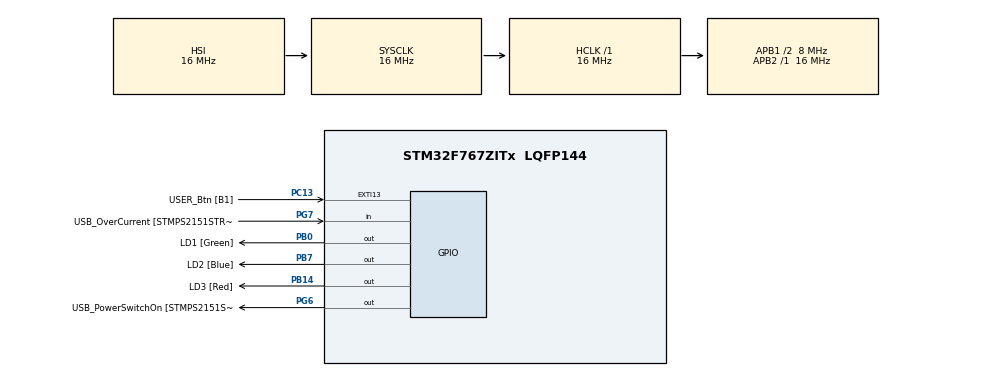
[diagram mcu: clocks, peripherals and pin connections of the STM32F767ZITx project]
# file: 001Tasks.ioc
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Mcu.Family=STM32F7
Mcu.Name=STM32F767ZITx
Mcu.Package=LQFP144
NVIC.PriorityGroup=NVIC_PRIORITYGROUP_4
NVIC.TIM6_DAC_IRQn=true\:15\:0\:false\:false\:true\:false\:true\:true
NVIC.TimeBase=TIM6_DAC_IRQn
NVIC.TimeBaseIP=TIM6
PA1.GPIO_Label=RMII_REF_CLK [LAN8742A-CZ-TR_REFCLK0]
PA1.Signal=ETH_REF_CLK
PA10.GPIO_Label=USB_ID
PA10.Signal=USB_OTG_FS_ID
PA11.GPIO_Label=USB_DM
PA11.Signal=USB_OTG_FS_DM
PA12.GPIO_Label=USB_DP
PA12.Signal=USB_OTG_FS_DP
PA13.GPIO_Label=TMS
PA13.Signal=SYS_JTMS-SWDIO
PA14.GPIO_Label=TCK
PA14.Signal=SYS_JTCK-SWCLK
PA2.GPIO_Label=RMII_MDIO [LAN8742A-CZ-TR_MDIO]
PA2.Signal=ETH_MDIO
PA7.GPIO_Label=RMII_CRS_DV [LAN8742A-CZ-TR_CRS_DV]
PA7.Signal=ETH_CRS_DV
PA8.GPIO_Label=USB_SOF [TP1]
PA8.Signal=USB_OTG_FS_SOF
PA9.GPIO_Label=USB_VBUS
PA9.Signal=USB_OTG_FS_VBUS
PB0.GPIO_Label=LD1 [Green]
PB0.Signal=GPIO_Output
PB13.GPIO_Label=RMII_TXD1 [LAN8742A-CZ-TR_TXD1]
PB13.Signal=ETH_TXD1
PB14.GPIO_Label=LD3 [Red]
PB14.Signal=GPIO_Output
PB3.GPIO_Label=SW0
PB3.Signal=SYS_JTDO-SWO
PB7.GPIO_Label=LD2 [Blue]
PB7.Signal=GPIO_Output
PC1.GPIO_Label=RMII_MDC [LAN8742A-CZ-TR_MDC]
PC1.Signal=ETH_MDC
PC13.GPIO_Label=USER_Btn [B1]
PC13.Signal=GPXTI13
PC14/OSC32_IN.Signal=RCC_OSC32_IN
PC15/OSC32_OUT.Signal=RCC_OSC32_OUT
PC4.GPIO_Label=RMII_RXD0 [LAN8742A-CZ-TR_RXD0]
PC4.Signal=ETH_RXD0
PC5.GPIO_Label=RMII_RXD1 [LAN8742A-CZ-TR_RXD1]
PC5.Signal=ETH_RXD1
PD8.GPIO_Label=STLK_RX [STM32F103CBT6_PA3]
PD8.Signal=USART3_TX
PD9.GPIO_Label=STLK_TX [STM32F103CBT6_PA2]
PD9.Signal=USART3_RX
PG11.GPIO_Label=RMII_TX_EN [LAN8742A-CZ-TR_TXEN]
PG11.Signal=ETH_TX_EN
PG13.GPIO_Label=RMII_TXD0 [LAN8742A-CZ-TR_TXD0]
PG13.Signal=ETH_TXD0
PG6.GPIO_Label=USB_PowerSwitchOn [STMPS2151STR_EN]
PG6.Signal=GPIO_Output
PG7.GPIO_Label=USB_OverCurrent [STMPS2151STR_FAULT]
PG7.Signal=GPIO_Input
PH0/OSC_IN.GPIO_Label=MCO [STM32F103CBT6_PA8]
PH0/OSC_IN.Signal=RCC_OSC_IN
PH1/OSC_OUT.Signal=RCC_OSC_OUT
ProjectManager.HeapSize=0x200
ProjectManager.StackSize=0x400
ProjectManager.TargetToolchain=STM32CubeIDE
RCC.48MHZClocksFreq_Value=24000000
RCC.AHBFreq_Value=16000000
RCC.APB1CLKDivider=RCC_HCLK_DIV2
RCC.APB1Freq_Value=8000000
RCC.APB1TimFreq_Value=16000000
RCC.APB2Freq_Value=16000000
RCC.APB2TimFreq_Value=16000000
RCC.CortexFreq_Value=16000000
RCC.HCLKFreq_Value=16000000
RCC.HSE_VALUE=16000000
RCC.HSI_VALUE=16000000
RCC.LSE_VALUE=32768
RCC.PLLMUL=RCC_PLL_MUL9
RCC.PRESCALERUSB=RCC_USBCLKSOURCE_PLL_DIV1_5
RCC.SYSCLKFreq_VALUE=16000000
RCC.SYSCLKSourceVirtual=RCC_SYSCLKSOURCE_PLLCLK
RCC.USBFreq_Value=96000000
RCC.VCOOutputFreq_Value=192000000
VP_SYS_VS_tim6.Mode=TIM6
board=NUCLEO-F767ZI

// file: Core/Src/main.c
/* USER CODE BEGIN Header */
/**
 ******************************************************************************
 * @file           : main.c
 * @brief          : Main program body
 ******************************************************************************
 * @attention
 *
 * Copyright (c) 2024 STMicroelectronics.
 * All rights reserved.
 *
 * This software is licensed under terms that can be found in the LICENSE file
 * in the root directory of this software component.
 * If no LICENSE file comes with this software, it is provided AS-IS.
 *
 ******************************************************************************
 */
/* USER CODE END Header */
#include "main.h"

#include <stdio.h>
#include "FreeRTOS.h"
#include "task.h"

/* USER CODE BEGIN PV */

#define DWT_CTRL	(*(volatile uint32_t*)0xE0001000)	// check at cm7

/* USER CODE END PV */

void SystemClock_Config(void);
static void MX_GPIO_Init(void);
/* USER CODE BEGIN PFP */

static void task1_handler(void* parameters);
static void task2_handler(void* parameters);

/* USER CODE END PFP */

int main(void)
{
	/* USER CODE BEGIN 1 */
	TaskHandle_t task1_handle;
	TaskHandle_t task2_handle;

	BaseType_t status;
	/* USER CODE END 1 */

	/* MCU Configuration--------------------------------------------------------*/

	/* Reset of all peripherals, Initializes the Flash interface and the Systick. */
	HAL_Init();

	/* Configure the system clock */
	SystemClock_Config();

	/* Initialize all configured peripherals */
	MX_GPIO_Init();

	// Enable CYCCNT
	DWT_CTRL |= (1 << 0);

	SEGGER_SYSVIEW_Conf();

	SEGGER_SYSVIEW_Start();

	status = xTaskCreate(task1_handler, "Task-1", 200, "Hello world from Task-1", 2, &task1_handle);
	configASSERT(status == pdPASS);
	status = xTaskCreate(task2_handler, "Task-2", 200, "Hello world from Task-2", 2, &task2_handle);
	configASSERT(status == pdPASS);

	// start the FreeRTOS Scheduler

	vTaskStartScheduler();

	/* Infinite loop */
	while (1)
	{

	}
}

void SystemClock_Config(void)
{
	RCC_OscInitTypeDef RCC_OscInitStruct = {0};
	RCC_ClkInitTypeDef RCC_ClkInitStruct = {0};

	/** Configure the main internal regulator output voltage
	 */
	__HAL_RCC_PWR_CLK_ENABLE();
	__HAL_PWR_VOLTAGESCALING_CONFIG(PWR_REGULATOR_VOLTAGE_SCALE3);

	/** Initializes the RCC Oscillators according to the specified parameters
	 * in the RCC_OscInitTypeDef structure.
	 */
	RCC_OscInitStruct.OscillatorType = RCC_OSCILLATORTYPE_HSI;
	RCC_OscInitStruct.HSIState = RCC_HSI_ON;
	RCC_OscInitStruct.HSICalibrationValue = RCC_HSICALIBRATION_DEFAULT;
	RCC_OscInitStruct.PLL.PLLState = RCC_PLL_NONE;
	if (HAL_RCC_OscConfig(&RCC_OscInitStruct) != HAL_OK)
	{
		Error_Handler();
	}

	/** Initializes the CPU, AHB and APB buses clocks
	 */
	RCC_ClkInitStruct.ClockType = RCC_CLOCKTYPE_HCLK|RCC_CLOCKTYPE_SYSCLK
			|RCC_CLOCKTYPE_PCLK1|RCC_CLOCKTYPE_PCLK2;
	RCC_ClkInitStruct.SYSCLKSource = RCC_SYSCLKSOURCE_HSI;
	RCC_ClkInitStruct.AHBCLKDivider = RCC_SYSCLK_DIV1;
	RCC_ClkInitStruct.APB1CLKDivider = RCC_HCLK_DIV2;
	RCC_ClkInitStruct.APB2CLKDivider = RCC_HCLK_DIV1;

	if (HAL_RCC_ClockConfig(&RCC_ClkInitStruct, FLASH_LATENCY_0) != HAL_OK)
	{
		Error_Handler();
	}
}

static void MX_GPIO_Init(void)
{
	GPIO_InitTypeDef GPIO_InitStruct = {0};

	/* GPIO Ports Clock Enable */
	__HAL_RCC_GPIOC_CLK_ENABLE();
	__HAL_RCC_GPIOH_CLK_ENABLE();
	__HAL_RCC_GPIOA_CLK_ENABLE();
	__HAL_RCC_GPIOB_CLK_ENABLE();
	__HAL_RCC_GPIOD_CLK_ENABLE();
	__HAL_RCC_GPIOG_CLK_ENABLE();

	/*Configure GPIO pin Output Level */
	HAL_GPIO_WritePin(GPIOB, LD1_Pin|LD3_Pin|LD2_Pin, GPIO_PIN_RESET);

	/*Configure GPIO pin Output Level */
	HAL_GPIO_WritePin(USB_PowerSwitchOn_GPIO_Port, USB_PowerSwitchOn_Pin, GPIO_PIN_RESET);

	/*Configure GPIO pin : USER_Btn_Pin */
	GPIO_InitStruct.Pin = USER_Btn_Pin;
	GPIO_InitStruct.Mode = GPIO_MODE_IT_RISING;
	GPIO_InitStruct.Pull = GPIO_NOPULL;
	HAL_GPIO_Init(USER_Btn_GPIO_Port, &GPIO_InitStruct);

	/*Configure GPIO pins : RMII_MDC_Pin RMII_RXD0_Pin RMII_RXD1_Pin */
	GPIO_InitStruct.Pin = RMII_MDC_Pin|RMII_RXD0_Pin|RMII_RXD1_Pin;
	GPIO_InitStruct.Mode = GPIO_MODE_AF_PP;
	GPIO_InitStruct.Pull = GPIO_NOPULL;
	GPIO_InitStruct.Speed = GPIO_SPEED_FREQ_VERY_HIGH;
	GPIO_InitStruct.Alternate = GPIO_AF11_ETH;
	HAL_GPIO_Init(GPIOC, &GPIO_InitStruct);

	/*Configure GPIO pins : RMII_REF_CLK_Pin RMII_MDIO_Pin RMII_CRS_DV_Pin */
	GPIO_InitStruct.Pin = RMII_REF_CLK_Pin|RMII_MDIO_Pin|RMII_CRS_DV_Pin;
	GPIO_InitStruct.Mode = GPIO_MODE_AF_PP;
	GPIO_InitStruct.Pull = GPIO_NOPULL;
	GPIO_InitStruct.Speed = GPIO_SPEED_FREQ_VERY_HIGH;
	GPIO_InitStruct.Alternate = GPIO_AF11_ETH;
	HAL_GPIO_Init(GPIOA, &GPIO_InitStruct);

	/*Configure GPIO pins : LD1_Pin LD3_Pin LD2_Pin */
	GPIO_InitStruct.Pin = LD1_Pin|LD3_Pin|LD2_Pin;
	GPIO_InitStruct.Mode = GPIO_MODE_OUTPUT_PP;
	GPIO_InitStruct.Pull = GPIO_NOPULL;
	GPIO_InitStruct.Speed = GPIO_SPEED_FREQ_LOW;
	HAL_GPIO_Init(GPIOB, &GPIO_InitStruct);

	/*Configure GPIO pin : RMII_TXD1_Pin */
	GPIO_InitStruct.Pin = RMII_TXD1_Pin;
	GPIO_InitStruct.Mode = GPIO_MODE_AF_PP;
	GPIO_InitStruct.Pull = GPIO_NOPULL;
	GPIO_InitStruct.Speed = GPIO_SPEED_FREQ_VERY_HIGH;
	GPIO_InitStruct.Alternate = GPIO_AF11_ETH;
	HAL_GPIO_Init(RMII_TXD1_GPIO_Port, &GPIO_InitStruct);

	/*Configure GPIO pins : STLK_RX_Pin STLK_TX_Pin */
	GPIO_InitStruct.Pin = STLK_RX_Pin|STLK_TX_Pin;
	GPIO_InitStruct.Mode = GPIO_MODE_AF_PP;
	GPIO_InitStruct.Pull = GPIO_NOPULL;
	GPIO_InitStruct.Speed = GPIO_SPEED_FREQ_VERY_HIGH;
	GPIO_InitStruct.Alternate = GPIO_AF7_USART3;
	HAL_GPIO_Init(GPIOD, &GPIO_InitStruct);

	/*Configure GPIO pin : USB_PowerSwitchOn_Pin */
	GPIO_InitStruct.Pin = USB_PowerSwitchOn_Pin;
	GPIO_InitStruct.Mode = GPIO_MODE_OUTPUT_PP;
	GPIO_InitStruct.Pull = GPIO_NOPULL;
	GPIO_InitStruct.Speed = GPIO_SPEED_FREQ_LOW;
	HAL_GPIO_Init(USB_PowerSwitchOn_GPIO_Port, &GPIO_InitStruct);

	/*Configure GPIO pin : USB_OverCurrent_Pin */
	GPIO_InitStruct.Pin = USB_OverCurrent_Pin;
	GPIO_InitStruct.Mode = GPIO_MODE_INPUT;
	GPIO_InitStruct.Pull = GPIO_NOPULL;
	HAL_GPIO_Init(USB_OverCurrent_GPIO_Port, &GPIO_InitStruct);

	/*Configure GPIO pins : USB_SOF_Pin USB_ID_Pin USB_DM_Pin USB_DP_Pin */
	GPIO_InitStruct.Pin = USB_SOF_Pin|USB_ID_Pin|USB_DM_Pin|USB_DP_Pin;
	GPIO_InitStruct.Mode = GPIO_MODE_AF_PP;
	GPIO_InitStruct.Pull = GPIO_NOPULL;
	GPIO_InitStruct.Speed = GPIO_SPEED_FREQ_VERY_HIGH;
	GPIO_InitStruct.Alternate = GPIO_AF10_OTG_FS;
	HAL_GPIO_Init(GPIOA, &GPIO_InitStruct);

	/*Configure GPIO pin : USB_VBUS_Pin */
	GPIO_InitStruct.Pin = USB_VBUS_Pin;
	GPIO_InitStruct.Mode = GPIO_MODE_INPUT;
	GPIO_InitStruct.Pull = GPIO_NOPULL;
	HAL_GPIO_Init(USB_VBUS_GPIO_Port, &GPIO_InitStruct);

	/*Configure GPIO pins : RMII_TX_EN_Pin RMII_TXD0_Pin */
	GPIO_InitStruct.Pin = RMII_TX_EN_Pin|RMII_TXD0_Pin;
	GPIO_InitStruct.Mode = GPIO_MODE_AF_PP;
	GPIO_InitStruct.Pull = GPIO_NOPULL;
	GPIO_InitStruct.Speed = GPIO_SPEED_FREQ_VERY_HIGH;
	GPIO_InitStruct.Alternate = GPIO_AF11_ETH;
	HAL_GPIO_Init(GPIOG, &GPIO_InitStruct);

}

/* USER CODE BEGIN 4 */

static void task1_handler(void* parameters)
{
	char msg[100];
	while(1)
	{
		snprintf(msg, 100, "%s\n", (char*)parameters);
		SEGGER_SYSVIEW_PrintfTarget(msg);
		taskYIELD();
	}
}

static void task2_handler(void* parameters)
{
	char msg[100];
	while(1)
	{
		snprintf(msg, 100, "%s\n", (char*)parameters);
		printf("%s\n", (char*)parameters);
		taskYIELD();
	}
}

/* USER CODE END 4 */

void HAL_TIM_PeriodElapsedCallback(TIM_HandleTypeDef *htim)
{
	if (htim->Instance == TIM6) {
		HAL_IncTick();
	}
}

void Error_Handler(void)
{
	__disable_irq();
	while (1)
	{
	}
}
